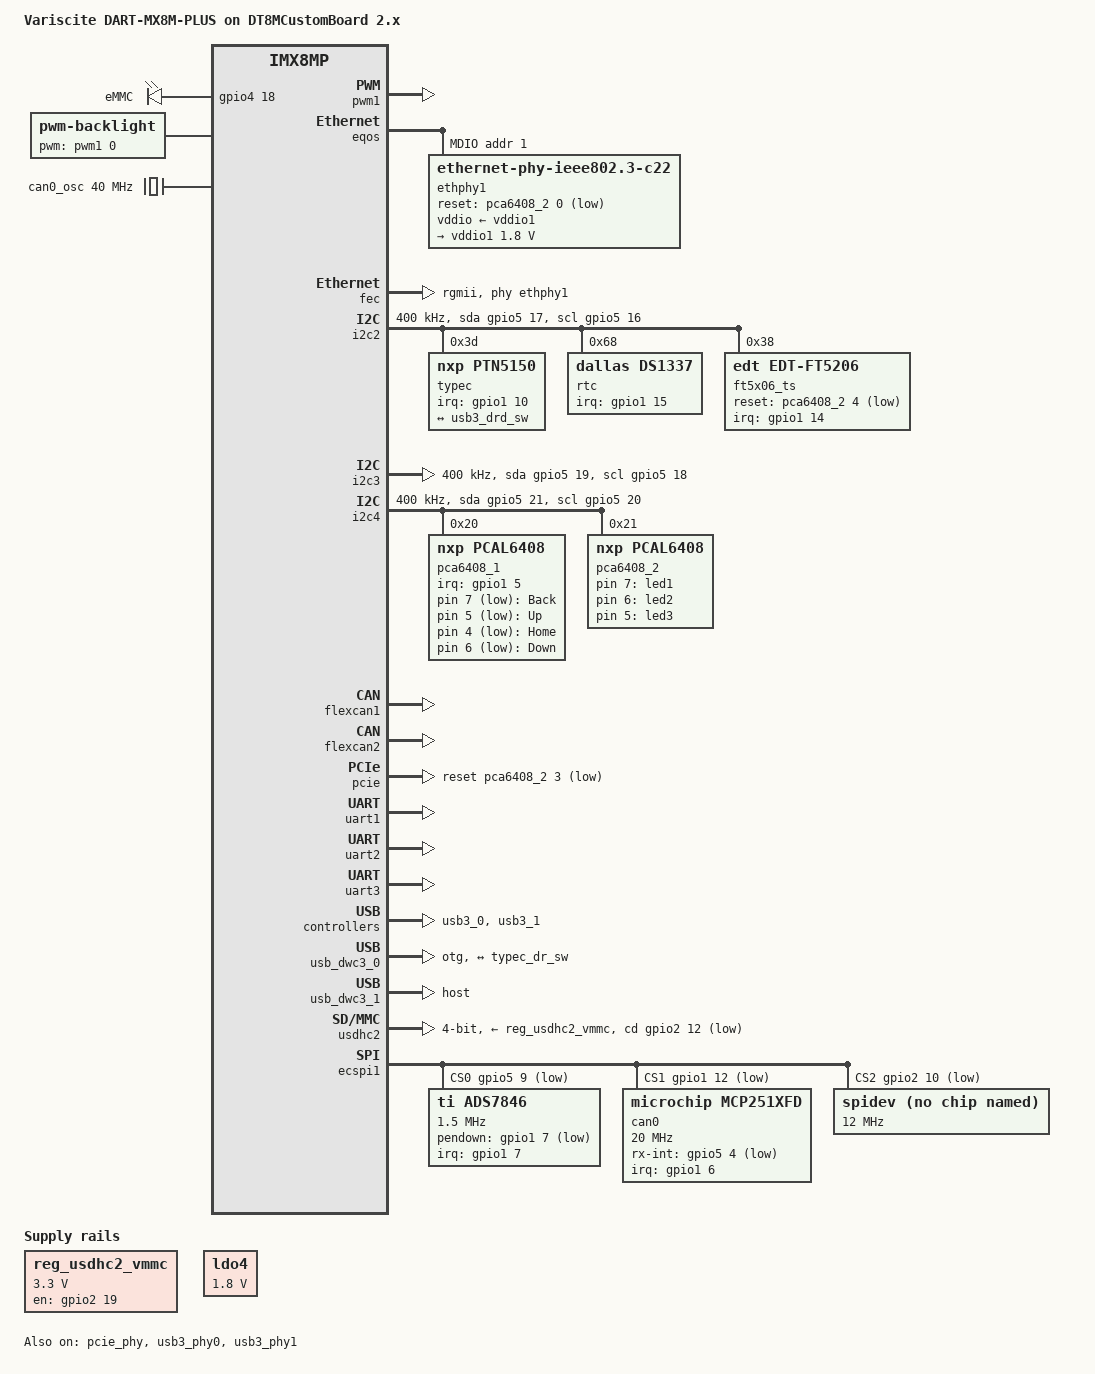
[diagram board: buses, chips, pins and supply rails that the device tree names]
// SPDX-License-Identifier: (GPL-2.0+ OR MIT)
/*
 * Copyright 2019 NXP
 * Copyright 2020-2021 Variscite Ltd.
 * Copyright 2023 VAHLE Automation GmbH
 */

#include "imx8mp-var-dart.dtsi"

/ {
	model = "Variscite DART-MX8M-PLUS on DT8MCustomBoard 2.x";

	chosen {
		stdout-path = &uart1;

		environment-sd {
			compatible = "barebox,environment";
			device-path = &env_sd;
			status = "disabled";
		};

		environment-emmc {
			compatible = "barebox,environment";
			device-path = &env_emmc;
			status = "disabled";
		};
	};

	gpio-keys {
		compatible = "gpio-keys";

		back {
			label = "Back";
			linux,code = <KEY_BACK>;
			gpios = <&pca6408_1 7 GPIO_ACTIVE_LOW>;
			wakeup-source;
		};

		up {
			label = "Up";
			linux,code = <KEY_UP>;
			gpios = <&pca6408_1 5 GPIO_ACTIVE_LOW>;
			wakeup-source;
		};

		home {
			label = "Home";
			linux,code = <KEY_HOME>;
			gpios = <&pca6408_1 4 GPIO_ACTIVE_LOW>;
			wakeup-source;
		};

		down {
			label = "Down";
			linux,code = <KEY_DOWN>;
			gpios = <&pca6408_1 6 GPIO_ACTIVE_LOW>;
			wakeup-source;
		};
	};

	gpio-leds {
		compatible = "gpio-leds";
		pinctrl-names = "default";
		pinctrl-0 = <&pinctrl_gpio_leds>;

		gp-led1 {
			label = "led1";
			gpios = <&pca6408_2 7 GPIO_ACTIVE_HIGH>;
			linux,default-trigger = "heartbeat";
		};

		gp-led2 {
			label = "led2";
			gpios = <&pca6408_2 6 GPIO_ACTIVE_HIGH>;
		};

		gp-led3 {
			label = "led3";
			gpios = <&pca6408_2 5 GPIO_ACTIVE_HIGH>;
		};

		gp-led4 {
			label = "eMMC";
			gpios = <&gpio4 18 GPIO_ACTIVE_HIGH>;
			linux,default-trigger = "mmc2";
		};
	};

	reg_usdhc2_vmmc: regulator-usdhc2-vmmc {
		compatible = "regulator-fixed";
		regulator-name = "VSD_3V3";
		regulator-min-microvolt = <3300000>;
		regulator-max-microvolt = <3300000>;
		gpio = <&gpio2 19 GPIO_ACTIVE_HIGH>;
		enable-active-high;
		startup-delay-us = <100>;
		off-on-delay-us = <12000>;
	};

	backlight: backlight {
		compatible = "pwm-backlight";
		pwms = <&pwm1 0 1000000 0>;

		brightness-levels = < 0  1  2  3  4  5  6  7  8  9
				     10 11 12 13 14 15 16 17 18 19
				     20 21 22 23 24 25 26 27 28 29
				     30 31 32 33 34 35 36 37 38 39
				     40 41 42 43 44 45 46 47 48 49
				     50 51 52 53 54 55 56 57 58 59
				     60 61 62 63 64 65 66 67 68 69
				     70 71 72 73 74 75 76 77 78 79
				     80 81 82 83 84 85 86 87 88 89
				     90 91 92 93 94 95 96 97 98 99
				    100>;
		default-brightness-level = <80>;
	};

	can0_osc: can0_osc {
		compatible = "fixed-clock";
		#clock-cells = <0>;
		clock-frequency = <40000000>;
	};
};

&pwm1 {
	pinctrl-names = "default";
	pinctrl-0 = <&pinctrl_pwm1>;
	status = "okay";
};

&eqos {
	mdio {
		ethphy1: ethernet-phy@1 {
			compatible = "ethernet-phy-ieee802.3-c22";
			reg = <1>;
			at803x,eee-disabled;
			eee-broken-1000t;
			reset-gpios = <&pca6408_2 0 GPIO_ACTIVE_LOW>;
			reset-assert-us = <10000>;
			reset-deassert-us = <20000>;
			vddio-supply = <&vddio1>;

			vddio1: vddio-regulator {
				regulator-min-microvolt = <1800000>;
				regulator-max-microvolt = <1800000>;
			};
		};
	};
};

&fec {
	pinctrl-names = "default";
	pinctrl-0 = <&pinctrl_fec>;
	phy-mode = "rgmii";
	phy-handle = <&ethphy1>;
	status = "okay";
};

&flexspi {
	pinctrl-names = "default";
	pinctrl-0 = <&pinctrl_flexspi0>;
	status = "disabled";
};

&i2c2 {
	clock-frequency = <400000>;
	pinctrl-names = "default", "gpio";
	pinctrl-0 = <&pinctrl_i2c2>;
	pinctrl-1 = <&pinctrl_i2c2_gpio>;
	scl-gpios = <&gpio5 16 GPIO_ACTIVE_HIGH>;
	sda-gpios = <&gpio5 17 GPIO_ACTIVE_HIGH>;
	status = "okay";

	typec@3d {
		compatible = "nxp,ptn5150";
		pinctrl-names = "default";
		pinctrl-0 = <&pinctrl_extcon>;
		reg = <0x3d>;
		interrupt-parent = <&gpio1>;
		interrupts = <10 IRQ_TYPE_LEVEL_HIGH>;
		irq-is-id-quirk;

		port {
			typec_dr_sw: endpoint {
				remote-endpoint = <&usb3_drd_sw>;
			};
		};
	};

	/* DS1337 RTC module */
	rtc@68 {
		compatible = "dallas,ds1337";
		reg = <0x68>;
		pinctrl-names = "default";
		pinctrl-0 = <&pinctrl_rtc>;
		interrupt-parent = <&gpio1>;
		interrupts = <15 IRQ_TYPE_EDGE_FALLING>;
		wakeup-source;
	};

	/* Capacitive touch controller */
	ft5x06_ts: ft5x06_ts@38 {
		compatible = "edt,edt-ft5206";
		reg = <0x38>;
		pinctrl-names = "default";
		pinctrl-0 = <&pinctrl_captouch>;
		reset-gpios = <&pca6408_2 4 GPIO_ACTIVE_LOW>;
		interrupt-parent = <&gpio1>;
		interrupts = <14 IRQ_TYPE_EDGE_FALLING>;
		touchscreen-size-x = <800>;
		touchscreen-size-y = <480>;
		touchscreen-inverted-x;
		touchscreen-inverted-y;
		wakeup-source;
	};
};

&i2c3 {
	clock-frequency = <400000>;
	pinctrl-names = "default", "gpio";
	pinctrl-0 = <&pinctrl_i2c3>;
	pinctrl-1 = <&pinctrl_i2c3_gpio>;
	scl-gpios = <&gpio5 18 GPIO_ACTIVE_HIGH>;
	sda-gpios = <&gpio5 19 GPIO_ACTIVE_HIGH>;
	status = "okay";
};

&i2c4 {
	clock-frequency = <400000>;
	pinctrl-names = "default", "gpio";
	pinctrl-0 = <&pinctrl_i2c4>;
	pinctrl-1 = <&pinctrl_i2c4_gpio>;
	scl-gpios = <&gpio5 20 GPIO_ACTIVE_HIGH>;
	sda-gpios = <&gpio5 21 GPIO_ACTIVE_HIGH>;
	status = "okay";

	pca6408_1: gpio@20 {
		compatible = "nxp,pcal6408";
		standard-regs-fallback;
		reg = <0x20>;
		gpio-controller;
		#gpio-cells = <2>;
		pinctrl-names = "default";
		pinctrl-0 = <&pinctrl_pca6408>;
		interrupt-parent = <&gpio1>;
		interrupts = <5 IRQ_TYPE_EDGE_FALLING>;
	};

	pca6408_2: gpio@21 {
		compatible = "nxp,pcal6408";
		standard-regs-fallback;
		reg = <0x21>;
		gpio-controller;
		#gpio-cells = <2>;
	};
};

&flexcan1 {
	pinctrl-names = "default";
	pinctrl-0 = <&pinctrl_flexcan1>;
	status = "okay";
};

&flexcan2 {
	pinctrl-names = "default";
	pinctrl-0 = <&pinctrl_flexcan2>;
	status = "okay";
};

&pcie {
	reset-gpio = <&pca6408_2 3 GPIO_ACTIVE_LOW>;
	ext_osc = <1>;
	clocks = <&clk IMX8MP_CLK_HSIO_ROOT>,
		 <&clk IMX8MP_CLK_PCIE_AUX>,
		 <&clk IMX8MP_CLK_HSIO_AXI>,
		 <&clk IMX8MP_CLK_PCIE_ROOT>;
	clock-names = "pcie", "pcie_aux", "pcie_phy", "pcie_bus";
	assigned-clocks = <&clk IMX8MP_CLK_HSIO_AXI>,
			  <&clk IMX8MP_CLK_PCIE_AUX>;
	assigned-clock-rates = <500000000>, <10000000>;
	assigned-clock-parents = <&clk IMX8MP_SYS_PLL2_500M>,
				 <&clk IMX8MP_SYS_PLL2_50M>;
	l1ss-disabled;
	status = "okay";
};

&pcie_phy {
	ext_osc = <1>;
	status = "okay";
};

/* Console */
&uart1 {
	pinctrl-names = "default";
	pinctrl-0 = <&pinctrl_uart1>;
	status = "okay";
};

/* Header */
&uart2 {
	pinctrl-names = "default";
	pinctrl-0 = <&pinctrl_uart2>;
	status = "okay";
};

/* Header */
&uart3 {
	pinctrl-names = "default";
	pinctrl-0 = <&pinctrl_uart3>;
	status = "okay";
};

&usb3_phy0 {
	fsl,phy-tx-vref-tune = <0xe>;
	fsl,phy-tx-preemp-amp-tune = <3>;
	fsl,phy-tx-vboost-level = <5>;
	fsl,phy-comp-dis-tune = <7>;
	fsl,pcs-tx-deemph-3p5db = <0x21>;
	fsl,phy-pcs-tx-swing-full = <0x7f>;
	status = "okay";
};

&usb3_0 {
	status = "okay";
};

&usb_dwc3_0 {
	dr_mode = "otg";
	hnp-disable;
	srp-disable;
	adp-disable;
	usb-role-switch;
	role-switch-default-mode = "none";
	snps,dis-u1-entry-quirk;
	snps,dis-u2-entry-quirk;

	port {
		usb3_drd_sw: endpoint {
			remote-endpoint = <&typec_dr_sw>;
		};
	};
};

&usb3_phy1 {
	fsl,phy-tx-preemp-amp-tune = <3>;
	fsl,phy-tx-vref-tune = <0xb>;
	status = "okay";
};

&usb3_1 {
	status = "okay";
};

&usb_dwc3_1 {
	dr_mode = "host";
};

&usdhc2 {
	pinctrl-names = "default", "state_100mhz", "state_200mhz";
	pinctrl-0 = <&pinctrl_usdhc2>, <&pinctrl_usdhc2_gpio>;
	pinctrl-1 = <&pinctrl_usdhc2_100mhz>, <&pinctrl_usdhc2_gpio>;
	pinctrl-2 = <&pinctrl_usdhc2_200mhz>, <&pinctrl_usdhc2_gpio>;
	cd-gpios = <&gpio2 12 GPIO_ACTIVE_LOW>;
	vmmc-supply = <&reg_usdhc2_vmmc>;
	bus-width = <4>;
	status = "okay";

	partitions {
		compatible = "fixed-partitions";
		#size-cells = <2>;
		#address-cells = <1>;

		partition@0 {
			label = "barebox";
			reg = <0x0 0x0 0xe0000>;
		};

		env_sd: partition@e0000 {
			label = "barebox-environment";
			reg = <0x0 0xe0000 0x20000>;
		};
	};
};

&usdhc3 {
	#address-cells = <2>;
	#size-cells = <1>;

	env_emmc: partition@e0000 {
		label = "barebox-environment";
		reg = <0x00000000 0x000e0000 0x00020000>;
	};
};

&ecspi1 {
	pinctrl-names = "default";
	pinctrl-0 = <&pinctrl_ecspi1>;
	cs-gpios = <&gpio5  9 GPIO_ACTIVE_LOW>,
		   <&gpio1 12 GPIO_ACTIVE_LOW>,
		   <&gpio2 10 GPIO_ACTIVE_LOW>;
	status = "okay";

	/* Resistive touch controller */
	ads7846@0 {
		compatible = "ti,ads7846";
		reg = <0>;
		pinctrl-names = "default";
		pinctrl-0 = <&pinctrl_restouch>;
		interrupt-parent = <&gpio1>;
		interrupts = <7 IRQ_TYPE_EDGE_FALLING>;
		spi-max-frequency = <1500000>;
		pendown-gpio = <&gpio1 7 GPIO_ACTIVE_LOW>;
		ti,x-min = /bits/ 16 <125>;
		ti,x-max = /bits/ 16 <4008>;
		ti,y-min = /bits/ 16 <282>;
		ti,y-max = /bits/ 16 <3864>;
		ti,x-plate-ohms = /bits/ 16 <180>;
		ti,pressure-max = /bits/ 16 <255>;
		ti,debounce-max = /bits/ 16 <10>;
		ti,debounce-tol = /bits/ 16 <3>;
		ti,debounce-rep = /bits/ 16 <1>;
		ti,settle-delay-usec = /bits/ 16 <150>;
		ti,keep-vref-on;
		wakeup-source;
	};

	can0: can@1 {
		compatible = "microchip,mcp251xfd";
		reg = <1>;
		pinctrl-names = "default";
		pinctrl-0 = <&pinctrl_can>;
		interrupt-parent = <&gpio1>;
		interrupts = <6 IRQ_TYPE_LEVEL_LOW>;
		microchip,rx-int-gpios = <&gpio5 4 GPIO_ACTIVE_LOW>;
		clocks = <&can0_osc>;
		spi-max-frequency = <20000000>;
	};

	spidev@2 {
		compatible = "var,spidev";
		reg = <2>;
		spi-max-frequency = <12000000>;
	};
};

&ldo4 {
	regulator-min-microvolt = <1800000>;
	regulator-max-microvolt = <1800000>;
};

&iomuxc {
	pinctrl-names = "default";
	pinctrl-0 = <&pinctrl_hog>;

	pinctrl_hog: hoggrp {
		fsl,pins = <
			MX8MP_IOMUXC_HDMI_DDC_SCL__HDMIMIX_HDMI_SCL			0x400001c2
			MX8MP_IOMUXC_HDMI_DDC_SDA__HDMIMIX_HDMI_SDA			0x400001c2
			MX8MP_IOMUXC_HDMI_HPD__HDMIMIX_HDMI_HPD				0x40000010
			MX8MP_IOMUXC_HDMI_CEC__HDMIMIX_HDMI_CEC				0x40000010
		>;
	};

	pinctrl_pwm1: pwm1grp {
		fsl,pins = <
			MX8MP_IOMUXC_GPIO1_IO01__PWM1_OUT				0x116
		>;
	};

	pinctrl_fec: fecgrp {
		fsl,pins = <
			MX8MP_IOMUXC_SAI1_RXD4__ENET1_RGMII_RD0				0x90
			MX8MP_IOMUXC_SAI1_RXD5__ENET1_RGMII_RD1				0x90
			MX8MP_IOMUXC_SAI1_RXD6__ENET1_RGMII_RD2				0x90
			MX8MP_IOMUXC_SAI1_RXD7__ENET1_RGMII_RD3				0x90
			MX8MP_IOMUXC_SAI1_TXC__ENET1_RGMII_RXC				0x90
			MX8MP_IOMUXC_SAI1_TXFS__ENET1_RGMII_RX_CTL			0x90
			MX8MP_IOMUXC_SAI1_TXD0__ENET1_RGMII_TD0				0x00
			MX8MP_IOMUXC_SAI1_TXD1__ENET1_RGMII_TD1				0x00
			MX8MP_IOMUXC_SAI1_TXD2__ENET1_RGMII_TD2				0x00
			MX8MP_IOMUXC_SAI1_TXD3__ENET1_RGMII_TD3				0x00
			MX8MP_IOMUXC_SAI1_TXD4__ENET1_RGMII_TX_CTL			0x00
			MX8MP_IOMUXC_SAI1_TXD5__ENET1_RGMII_TXC				0x00
		>;
	};

	pinctrl_flexspi0: flexspi0grp {
		fsl,pins = <
			MX8MP_IOMUXC_NAND_ALE__FLEXSPI_A_SCLK				0x1c2
			MX8MP_IOMUXC_NAND_CE0_B__FLEXSPI_A_SS0_B			0x82
			MX8MP_IOMUXC_NAND_DATA00__FLEXSPI_A_DATA00			0x82
			MX8MP_IOMUXC_NAND_DATA01__FLEXSPI_A_DATA01			0x82
			MX8MP_IOMUXC_NAND_DATA02__FLEXSPI_A_DATA02			0x82
			MX8MP_IOMUXC_NAND_DATA03__FLEXSPI_A_DATA03			0x82
		>;
	};

	pinctrl_i2c2: i2c2grp {
		fsl,pins = <
			MX8MP_IOMUXC_I2C2_SCL__I2C2_SCL					0x400001c2
			MX8MP_IOMUXC_I2C2_SDA__I2C2_SDA					0x400001c2
		>;
	};

	pinctrl_i2c3: i2c3grp {
		fsl,pins = <
			MX8MP_IOMUXC_I2C3_SCL__I2C3_SCL					0x400001c2
			MX8MP_IOMUXC_I2C3_SDA__I2C3_SDA					0x400001c2
		>;
	};

	pinctrl_i2c4: i2c4grp {
		fsl,pins = <
			MX8MP_IOMUXC_I2C4_SCL__I2C4_SCL					0x400001c2
			MX8MP_IOMUXC_I2C4_SDA__I2C4_SDA					0x400001c2
		>;
	};

	pinctrl_i2c2_gpio: i2c2gpiogrp {
		fsl,pins = <
			MX8MP_IOMUXC_I2C2_SCL__GPIO5_IO16				0x1c2
			MX8MP_IOMUXC_I2C2_SDA__GPIO5_IO17				0x1c2
		>;
	};

	pinctrl_i2c3_gpio: i2c3gpiogrp {
		fsl,pins = <
			MX8MP_IOMUXC_I2C3_SCL__GPIO5_IO18				0x1c2
			MX8MP_IOMUXC_I2C3_SDA__GPIO5_IO19				0x1c2
		>;
	};

	pinctrl_i2c4_gpio: i2c4gpiogrp {
		fsl,pins = <
			MX8MP_IOMUXC_I2C4_SCL__GPIO5_IO20				0x1c2
			MX8MP_IOMUXC_I2C4_SDA__GPIO5_IO21				0x1c2
		>;
	};

	pinctrl_uart1: uart1grp {
		fsl,pins = <
			MX8MP_IOMUXC_UART1_RXD__UART1_DCE_RX				0x40
			MX8MP_IOMUXC_UART1_TXD__UART1_DCE_TX				0x40
		>;
	};

	pinctrl_uart2: uart2grp {
		fsl,pins = <
			MX8MP_IOMUXC_UART2_RXD__UART2_DCE_RX				0x40
			MX8MP_IOMUXC_UART2_TXD__UART2_DCE_TX				0x40
		>;
	};

	pinctrl_uart3: uart3grp {
		fsl,pins = <
			MX8MP_IOMUXC_UART3_RXD__UART3_DCE_RX				0x40
			MX8MP_IOMUXC_UART3_TXD__UART3_DCE_TX				0x40
		>;
	};

	pinctrl_uart4: uart4grp {
		fsl,pins = <
			MX8MP_IOMUXC_ECSPI2_SCLK__UART4_DCE_RX				0x140
			MX8MP_IOMUXC_ECSPI2_MOSI__UART4_DCE_TX				0x140
			MX8MP_IOMUXC_ECSPI2_MISO__UART4_DCE_CTS				0x140
			MX8MP_IOMUXC_ECSPI2_SS0__UART4_DCE_RTS				0x140
		>;
	};

	pinctrl_usdhc2_gpio: usdhc2grp-gpio {
		fsl,pins = <
			MX8MP_IOMUXC_SD2_CD_B__GPIO2_IO12 				0x1c4
			MX8MP_IOMUXC_SD2_RESET_B__GPIO2_IO19				0x40
		>;
	};

	pinctrl_usdhc2: usdhc2grp {
		fsl,pins = <
			MX8MP_IOMUXC_SD2_CLK__USDHC2_CLK				0x190
			MX8MP_IOMUXC_SD2_CMD__USDHC2_CMD				0x1d0
			MX8MP_IOMUXC_SD2_DATA0__USDHC2_DATA0				0x1d0
			MX8MP_IOMUXC_SD2_DATA1__USDHC2_DATA1				0x1d0
			MX8MP_IOMUXC_SD2_DATA2__USDHC2_DATA2				0x1d0
			MX8MP_IOMUXC_SD2_DATA3__USDHC2_DATA3				0x1d0
			MX8MP_IOMUXC_GPIO1_IO04__USDHC2_VSELECT				0xc0
		>;
	};

	pinctrl_usdhc2_100mhz: usdhc2grp-100mhz {
		fsl,pins = <
			MX8MP_IOMUXC_SD2_CLK__USDHC2_CLK				0x194
			MX8MP_IOMUXC_SD2_CMD__USDHC2_CMD				0x1d4
			MX8MP_IOMUXC_SD2_DATA0__USDHC2_DATA0				0x1d4
			MX8MP_IOMUXC_SD2_DATA1__USDHC2_DATA1				0x1d4
			MX8MP_IOMUXC_SD2_DATA2__USDHC2_DATA2				0x1d4
			MX8MP_IOMUXC_SD2_DATA3__USDHC2_DATA3				0x1d4
			MX8MP_IOMUXC_GPIO1_IO04__USDHC2_VSELECT 			0xc0
		>;
	};

	pinctrl_usdhc2_200mhz: usdhc2grp-200mhz {
		fsl,pins = <
			MX8MP_IOMUXC_SD2_CLK__USDHC2_CLK				0x196
			MX8MP_IOMUXC_SD2_CMD__USDHC2_CMD				0x1d6
			MX8MP_IOMUXC_SD2_DATA0__USDHC2_DATA0				0x1d6
			MX8MP_IOMUXC_SD2_DATA1__USDHC2_DATA1				0x1d6
			MX8MP_IOMUXC_SD2_DATA2__USDHC2_DATA2				0x1d6
			MX8MP_IOMUXC_SD2_DATA3__USDHC2_DATA3				0x1d6
			MX8MP_IOMUXC_GPIO1_IO04__USDHC2_VSELECT 			0xc0
		>;
	};

	pinctrl_ecspi1: ecspi1grp {
		fsl,pins = <
			MX8MP_IOMUXC_ECSPI1_SCLK__ECSPI1_SCLK				0x12
			MX8MP_IOMUXC_ECSPI1_MOSI__ECSPI1_MOSI				0x12
			MX8MP_IOMUXC_ECSPI1_MISO__ECSPI1_MISO				0x12
			MX8MP_IOMUXC_ECSPI1_SS0__GPIO5_IO09				0x12
			MX8MP_IOMUXC_GPIO1_IO12__GPIO1_IO12				0x12
			MX8MP_IOMUXC_SD1_RESET_B__GPIO2_IO10				0x12
		>;
	};

	pinctrl_captouch: captouchgrp {
		fsl,pins = <
			MX8MP_IOMUXC_GPIO1_IO14__GPIO1_IO14				0x16
		>;
	};


	pinctrl_restouch: restouchgrp {
		fsl,pins = <
			MX8MP_IOMUXC_GPIO1_IO07__GPIO1_IO07				0xc0
		>;
	};

	pinctrl_extcon: extcongrp {
		fsl,pins = <
			MX8MP_IOMUXC_GPIO1_IO10__GPIO1_IO10				0x10
		>;
	};

	pinctrl_flexcan1: flexcan1grp {
		fsl,pins = <
			MX8MP_IOMUXC_SAI2_RXC__CAN1_TX					0x154
			MX8MP_IOMUXC_SAI2_TXC__CAN1_RX					0x154
		>;
	};

	pinctrl_flexcan2: flexcan2grp {
		fsl,pins = <
			MX8MP_IOMUXC_SAI2_MCLK__CAN2_RX					0x154
			MX8MP_IOMUXC_SAI2_TXD0__CAN2_TX					0x154
		>;
	};

	pinctrl_can: cangrp {
		fsl,pins = <
			MX8MP_IOMUXC_GPIO1_IO06__GPIO1_IO06				0x1c6
			MX8MP_IOMUXC_SPDIF_RX__GPIO5_IO04				0x16
		>;
	};

	pinctrl_pca6408: pca6408grp {
		fsl,pins = <
			MX8MP_IOMUXC_GPIO1_IO05__GPIO1_IO05				0x1c6
		>;
	};

	pinctrl_gpio_leds: ledgrp {
		fsl,pins = <
			MX8MP_IOMUXC_SAI1_TXD6__GPIO4_IO18				0xc6
		>;
	};

	pinctrl_rtc: rtcgrp {
		fsl,pins = <
			MX8MP_IOMUXC_GPIO1_IO15__GPIO1_IO15 				0x1c0
		>;
	};
};
